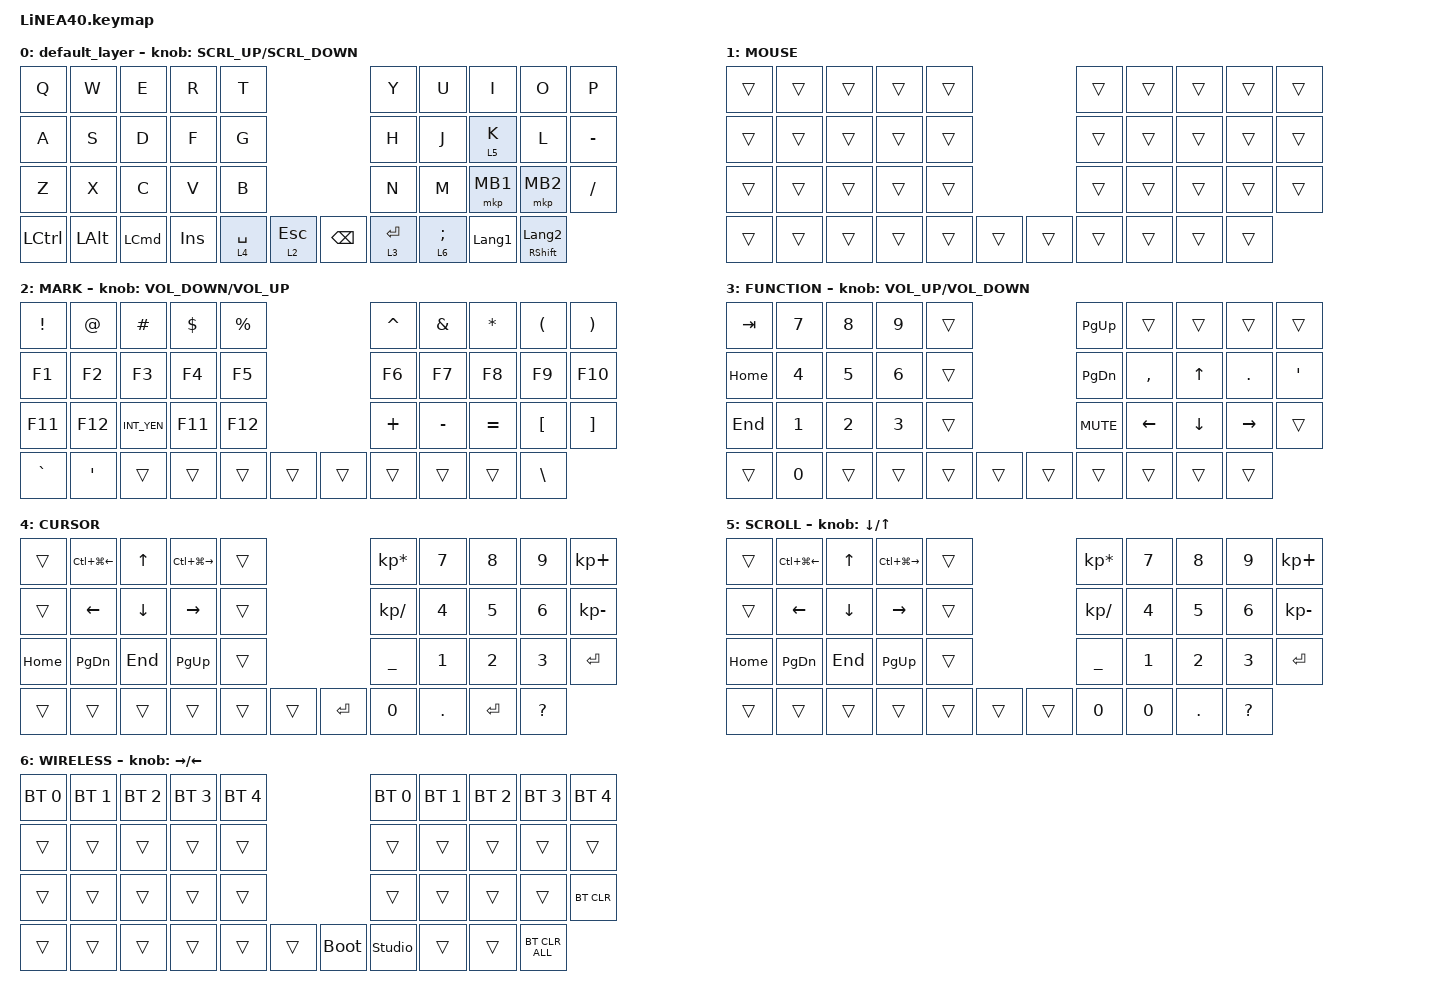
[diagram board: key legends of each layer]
#define ZMK_POINTING_DEFAULT_SCRL_VAL 150

#include <dt-bindings/zmk/input_transform.h>
#include <input/processors.dtsi>
#include <zephyr/dt-bindings/input/input-event-codes.h>
#include <behaviors.dtsi>
#include <dt-bindings/zmk/bt.h>
#include <dt-bindings/zmk/keys.h>
#include <dt-bindings/zmk/pointing.h>

#define MOUSE 1
#define MARK 2
#define CURSOR 3
#define FUNCTION 4
#define SCROLL 5
#define WIRELESS 6

//mouse cursol

&mmv {
    delay-ms = <20>;
    trigger-period-ms = <5>;
    time-to-max-speed-ms = <100>;
    acceleration-exponent = <2>;
};

//mouse scroll

&msc {
    delay-ms = <3>;
    trigger-period-ms = <3>;
    time-to-max-speed-ms = <100>;
    acceleration-exponent = <0>;
};

/ {
    input_processors {
        zip_wheel_scaler: zip_wheel_scaler {
            compatible = "zmk,input-processor-scaler";
            #input-processor-cells = <2>;
            type = <INPUT_EV_REL>;
            codes = <INPUT_REL_WHEEL>;
            track-remainders;
        };
    };
};

&msc_input_listener {
    speed_up {
        layers = <FUNCTION>;
        input-processors = <&zip_wheel_scaler 3 1>; //スクロールを3倍速にする
    };
};

&trackball_listener {
    scroller {
        layers = <SCROLL>;
        input-processors =
            <&zip_xy_transform INPUT_TRANSFORM_Y_INVERT>,
            //スクロール方向を逆転,,,,,,,,,,,,,,,
            <&zip_xy_to_scroll_mapper>;
    };
};

/ {
    combos { compatible = "zmk,combos"; };

    behaviors {
        re_kp: sensor_rotate_kp {
            compatible = "zmk,behavior-sensor-rotate-var";
            #sensor-binding-cells = <2>;
            bindings = <&kp>, <&kp>;
        };

        mouse_scrl: mouse_wheel_scrl {
            compatible = "zmk,behavior-sensor-rotate-var";
            #sensor-binding-cells = <2>;
            bindings = <&msc>, <&msc>;

            tap-ms = <20>;
        };
    };

    keymap {
        compatible = "zmk,keymap";

        default_layer {
            bindings = <
&kp Q             &kp W         &kp E             &kp R    &kp T                                    &kp Y        &kp U  &kp I       &kp O           &kp P
&kp A             &kp S         &kp D             &kp F    &kp G                                    &kp H        &kp J  &lt 5 K     &kp L           &kp MINUS
&kp Z             &kp X         &kp C             &kp V    &kp B                                    &kp N        &kp M  &mkp MB1    &mkp MB2        &kp SLASH
&kp LEFT_CONTROL  &kp LEFT_ALT  &kp LEFT_COMMAND  &kp INS  &lt 4 SPACE  &lt 2 ESC    &kp BACKSPACE  &lt 3 ENTER         &lt 6 SEMI  &kp LANGUAGE_1  &mt RIGHT_SHIFT LANGUAGE_2
            >;

            sensor-bindings = <&mouse_scrl SCRL_UP SCRL_DOWN>;
        };

        MOUSE {
            bindings = <
&trans  &trans  &trans  &trans  &trans                    &trans  &trans  &trans  &trans  &trans
&trans  &trans  &trans  &trans  &trans                    &trans  &trans  &trans  &trans  &trans
&trans  &trans  &trans  &trans  &trans                    &trans  &trans  &trans  &trans  &trans
&trans  &trans  &trans  &trans  &trans  &trans    &trans  &trans          &trans  &trans  &trans
            >;
        };

        MARK {
            bindings = <
&kp EXCLAMATION  &kp AT          &kp HASH     &kp DOLLAR  &kp PERCENT                    &kp CARET  &kp AMPERSAND  &kp ASTERISK  &kp LEFT_PARENTHESIS  &kp RIGHT_PARENTHESIS
&kp F1           &kp F2          &kp F3       &kp F4      &kp F5                         &kp F6     &kp F7         &kp F8        &kp F9                &kp F10
&kp F11          &kp F12         &kp INT_YEN  &kp F11     &kp F12                        &kp PLUS   &kp MINUS      &kp EQUAL     &kp LEFT_BRACKET      &kp RIGHT_BRACKET
&kp GRAVE        &kp APOSTROPHE  &trans       &trans      &trans       &trans    &trans  &trans                    &trans        &trans                &kp BACKSLASH
            >;

            sensor-bindings = <&re_kp C_VOLUME_DOWN C_VOLUME_UP>;
        };

        FUNCTION {
            bindings = <
&kp TAB   &kp NUMBER_7  &kp NUMBER_8  &kp NUMBER_9  &trans                    &kp PAGE_UP    &trans          &trans          &trans      &trans
&kp HOME  &kp NUMBER_4  &kp NUMBER_5  &kp NUMBER_6  &trans                    &kp PAGE_DOWN  &kp COMMA       &kp UP_ARROW    &kp PERIOD  &kp APOS
&kp END   &kp NUMBER_1  &kp NUMBER_2  &kp NUMBER_3  &trans                    &kp C_MUTE     &kp LEFT_ARROW  &kp DOWN_ARROW  &kp RIGHT   &trans
&trans    &kp NUMBER_0  &trans        &trans        &trans  &trans    &trans  &trans                         &trans          &trans      &trans
            >;

            sensor-bindings = <&re_kp C_VOLUME_UP C_VOLUME_DOWN>;
        };

        CURSOR {
            bindings = <
&trans    &kp LC(LG(LEFT_ARROW))  &kp UP_ARROW  &kp LC(LG(RIGHT_ARROW))  &trans                       &kp KP_MULTIPLY  &kp NUMBER_7  &kp NUMBER_8  &kp NUMBER_9  &kp KP_PLUS
&trans    &kp LEFT_ARROW          &kp DOWN      &kp RIGHT_ARROW          &trans                       &kp KP_SLASH     &kp NUMBER_4  &kp NUMBER_5  &kp NUMBER_6  &kp KP_MINUS
&kp HOME  &kp PAGE_DOWN           &kp END       &kp PAGE_UP              &trans                       &kp UNDER        &kp NUMBER_1  &kp NUMBER_2  &kp NUMBER_3  &kp ENTER
&trans    &trans                  &trans        &trans                   &trans  &trans    &kp ENTER  &kp NUMBER_0                   &kp DOT       &kp ENTER     &kp QUESTION
            >;
        };

        SCROLL {
            bindings = <
&trans    &kp LC(LG(LEFT_ARROW))  &kp UP_ARROW  &kp LC(LG(RIGHT_ARROW))  &trans                    &kp KP_MULTIPLY  &kp NUMBER_7  &kp NUMBER_8  &kp NUMBER_9  &kp KP_PLUS
&trans    &kp LEFT_ARROW          &kp DOWN      &kp RIGHT_ARROW          &trans                    &kp KP_SLASH     &kp NUMBER_4  &kp NUMBER_5  &kp NUMBER_6  &kp KP_MINUS
&kp HOME  &kp PAGE_DOWN           &kp END       &kp PAGE_UP              &trans                    &kp UNDER        &kp NUMBER_1  &kp NUMBER_2  &kp NUMBER_3  &kp ENTER
&trans    &trans                  &trans        &trans                   &trans  &trans    &trans  &kp NUMBER_0                   &kp NUMBER_0  &kp DOT       &kp QUESTION
            >;

            sensor-bindings = <&inc_dec_kp DOWN_ARROW UP_ARROW>;
        };

        WIRELESS {
            bindings = <
&bt BT_SEL 0  &bt BT_SEL 1  &bt BT_SEL 2  &bt BT_SEL 3  &bt BT_SEL 4                         &bt BT_SEL 0    &bt BT_SEL 1  &bt BT_SEL 2  &bt BT_SEL 3  &bt BT_SEL 4
&trans        &trans        &trans        &trans        &trans                               &trans          &trans        &trans        &trans        &trans
&trans        &trans        &trans        &trans        &trans                               &trans          &trans        &trans        &trans        &bt BT_CLR
&trans        &trans        &trans        &trans        &trans        &trans    &bootloader  &studio_unlock                &trans        &trans        &bt BT_CLR_ALL
            >;

            sensor-bindings = <&inc_dec_kp RIGHT_ARROW LEFT_ARROW>;
        };
    };
};
